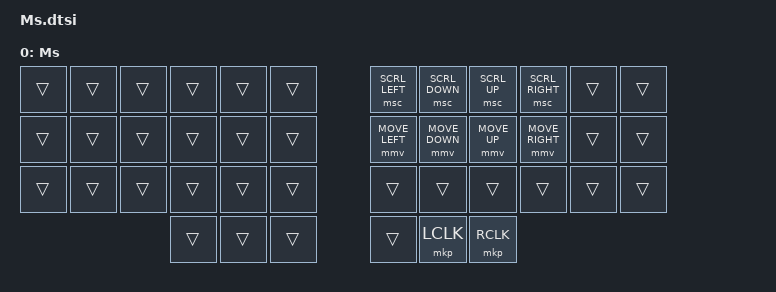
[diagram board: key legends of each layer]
/**
 * Mouse Emulation Layer
 */

/ {
  keymap {
    compatible = "zmk,keymap";

    ms_layer {
      display-name = "Ms";
      bindings = <
// ╭───────────────┬───────────────┬───────────────┬───────────────┬───────────────┬───────────────╮   ╭───────────────┬───────────────┬───────────────┬───────────────┬───────────────┬───────────────╮
// │0              │1              │2              │3              │4              │5              │   │6              │7              │8              │9              │10             │11             │
    &trans          &trans          &trans          &trans          &trans          &trans              &msc SCRL_LEFT  &msc SCRL_DOWN  &msc SCRL_UP    &msc SCRL_RIGHT &trans          &trans
// ├───────────────├───────────────┼───────────────┼───────────────┼───────────────┼───────────────┤   ├───────────────├───────────────┼───────────────┼───────────────┼───────────────┼───────────────┤
// │12             │13             │14             │15             │16             │17             │   │18             │19             │20             │21             │22             │23             │
    &trans          &trans          &trans          &trans          &trans          &trans              &mmv MOVE_LEFT  &mmv MOVE_DOWN  &mmv MOVE_UP    &mmv MOVE_RIGHT &trans          &trans
// ├───────────────├───────────────┼───────────────┼───────────────┼───────────────┼───────────────┤   ├───────────────├───────────────┼───────────────┼───────────────┼───────────────┼───────────────┤
// │24             │25             │26             │27             │28             │29             │   │30             │31             │32             │33             │34             │35             │
    &trans          &trans          &trans          &trans          &trans          &trans              &trans          &trans          &trans          &trans          &trans          &trans
// ╰───────────────┴───────────────┴───────────────┼───────────────┼───────────────┼───────────────┤   ├───────────────├───────────────┼───────────────┼───────────────┴───────────────┴───────────────╯
//                                                 │36             │37             │38             │   │39             │40             │41             │
                                                    &trans          &trans          &trans              &trans          &mkp LCLK       &mkp RCLK
//                                                 ╰───────────────┴───────────────┴───────────────╯   ╰───────────────┴───────────────┴───────────────╯
      >;
    };
  };
};
